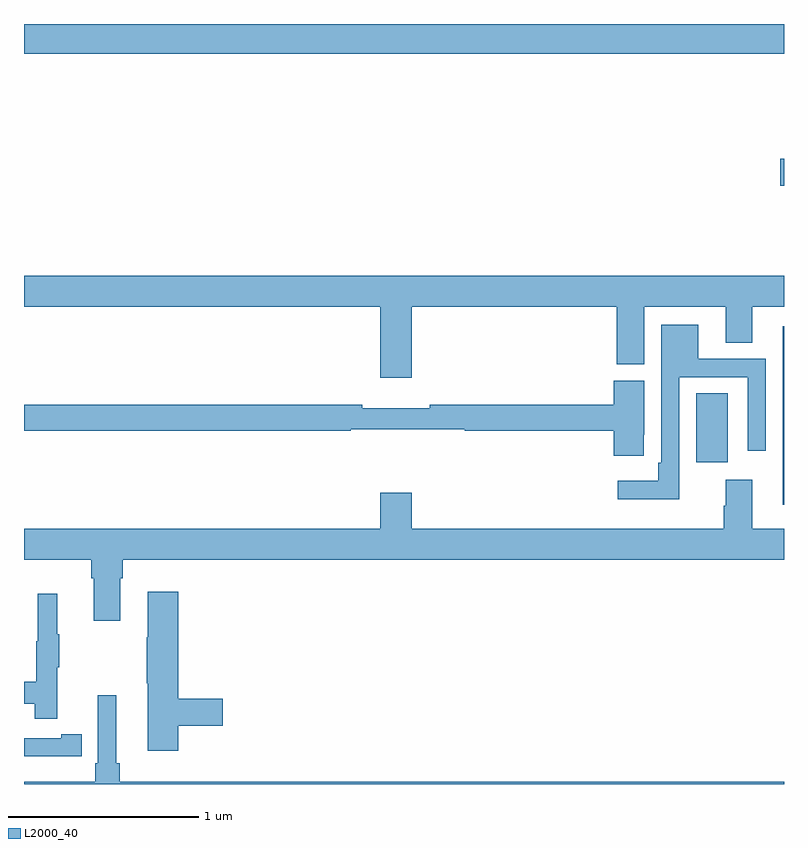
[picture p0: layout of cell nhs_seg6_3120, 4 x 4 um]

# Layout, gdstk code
import gdstk
lib = gdstk.Library(unit=1e-6, precision=1e-09)
def R(c, l, rs):  # rectangles x0, y0, x1, y1
    for r in rs: c.add(gdstk.rectangle(r[:2], r[2:], *l))
def P(c, l, *ps):  # polygons
    for p in ps: c.add(gdstk.Polygon(p, *l))
L2000_40 = (2000, 40)

nhs_seg6_3120 = lib.new_cell('nhs_seg6_3120')
R(nhs_seg6_3120, L2000_40, [(298.994,936.969,299,937.909), (298.538,937.194,298.705,937.556), (298.98,938.65,299,938.792), (295,939.344,299,939.5)])
P(nhs_seg6_3120, L2000_40, [(297.04,938.012),(298.121,938.012),(298.121,937.708),(298.264,937.708),(298.264,938.012),(298.694,938.012),(298.694,937.822),(298.834,937.822),(298.834,938.012),(299,938.012),(299,938.176),(295,938.176),(295,938.012),(296.876,938.012),(296.876,937.638),(297.04,937.638)],
  [(298.449,937.641),(298.809,937.641),(298.809,937.254),(298.905,937.254),(298.905,937.737),(298.549,937.737),(298.549,937.918),(298.353,937.918),(298.353,937.192),(298.337,937.192),(298.337,937.096),(298.125,937.096),(298.125,936.998),(298.449,936.998)],
  [(298.263,937.339),(298.264,937.339),(298.264,937.623),(298.103,937.623),(298.103,937.496),(297.136,937.496),(297.136,937.477),(296.78,937.477),(296.78,937.496),(295,937.496),(295,937.36),(296.719,937.36),(296.719,937.368),(297.319,937.368),(297.319,937.36),(298.103,937.36),(298.103,937.227),(298.263,937.227)],
  [(295.507,936.584),(295.52,936.584),(295.52,936.68),(299,936.68),(299,936.844),(298.834,936.844),(298.834,937.102),(298.694,937.102),(298.694,936.965),(298.682,936.965),(298.682,936.844),(297.04,936.844),(297.04,937.033),(296.876,937.033),(296.876,936.844),(295,936.844),(295,936.68),(295.355,936.68),(295.355,936.584),(295.367,936.584),(295.367,936.36),(295.507,936.36)],
  [(295.811,935.806),(296.047,935.806),(296.047,935.948),(295.811,935.948),(295.811,936.511),(295.652,936.511),(295.652,936.272),(295.645,936.272),(295.645,936.031),(295.652,936.031),(295.652,935.676),(295.811,935.676)],
  [(295.175,936.115),(295.186,936.115),(295.186,936.289),(295.175,936.289),(295.175,936.502),(295.072,936.502),(295.072,936.252),(295.065,936.252),(295.065,936.038),(295,936.038),(295,935.922),(295.057,935.922),(295.057,935.844),(295.175,935.844)],
  [(299,935.512),(295.505,935.512),(295.505,935.608),(295.486,935.608),(295.486,935.968),(295.389,935.968),(295.389,935.608),(295.376,935.608),(295.376,935.512),(295,935.512),(295,935.5),(299,935.5)],
  [(295.196,935.646),(295.304,935.646),(295.304,935.762),(295.196,935.762),(295.196,935.742),(295,935.742),(295,935.645),(295.196,935.645)])

lib.write_gds('nhs_seg6_3120.gds')
